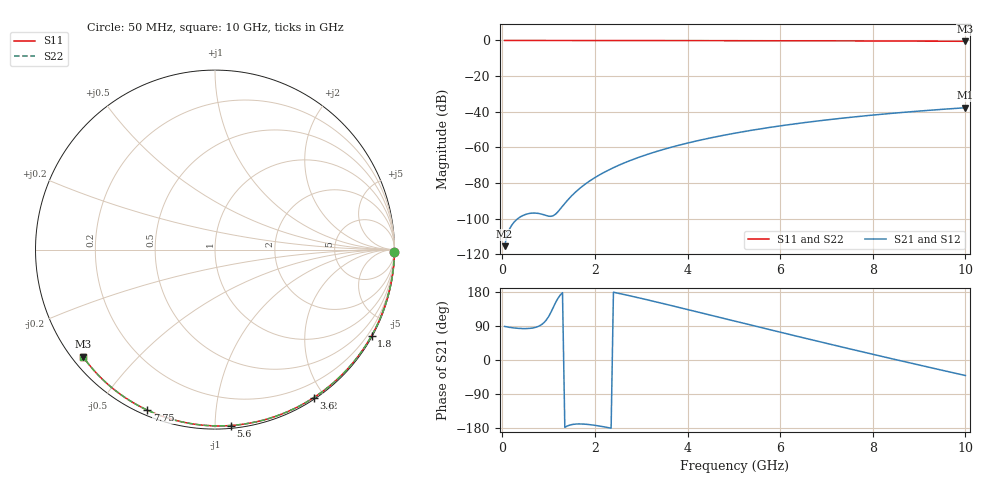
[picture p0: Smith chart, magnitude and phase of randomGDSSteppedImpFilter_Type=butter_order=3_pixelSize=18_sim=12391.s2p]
! freq	dB(S11)	phase(S11)	dB(S12)	phase(S12)
!  dB(S21)	phase(S21)	dB(S22)	phase(S22)
!S-par simulation data
#  GHz  S  DB  R 50
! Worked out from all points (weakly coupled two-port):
!   200 points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, 50 MHz to 10 GHz, reference 50 ohm
!   highest |S21| = -37.76 dB at 10 GHz (marker M1); lowest = -115.4 dB at 50 MHz (marker M2)
!   lowest |S11| = -0.5 dB at 10 GHz (marker M3), VSWR 36.77, Z = 1.53 - j17.7 ohm
!   |S11| at or under -10 dB: nowhere
!   |S22| runs from -0.5 to 0.0 dB; largest |S21 - S12| = 0
!   S11 on the Smith chart (normalised r, x): 50 MHz: open; 1.8 GHz: 0.03, -3.88; 3.6 GHz: 0.02, -1.87; 5.6 GHz: 0.02, -1.10; 7.75 GHz: 0.02, -0.66; 10 GHz: 0.03, -0.35
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0.05  -0.00 -0.8  -115.44 88.6  -115.44 88.6  -0.00 -0.8
0.45  -0.01 -7.3  -98.18 82.9  -98.18 82.9  -0.01 -7.3
0.9  -0.02 -14.6  -97.87 98.6  -97.87 98.6  -0.02 -14.6
1.75  -0.04 -28.1  -81.41 -169.1  -81.41 -169.1  -0.04 -28.1
1.8  -0.04 -28.9  -80.43 -169.5  -80.43 -169.5  -0.04 -28.9
1.85  -0.04 -29.7  -79.51 -170.0  -79.51 -170.0  -0.04 -29.7
2.05  -0.04 -32.8  -76.18 -173.3  -76.18 -173.3  -0.04 -32.8
2.2  -0.04 -35.1  -74.00 -176.4  -74.00 -176.4  -0.04 -35.1
2.55  -0.05 -40.5  -69.64 175.0  -69.64 175.0  -0.05 -40.5
2.95  -0.06 -46.6  -65.56 164.0  -65.56 164.0  -0.06 -46.6
3.4  -0.07 -53.4  -61.76 151.0  -61.76 151.0  -0.07 -53.4
3.6  -0.08 -56.4  -60.27 145.1  -60.27 145.1  -0.08 -56.4
4.3  -0.09 -66.6  -55.78 124.3  -55.78 124.3  -0.09 -66.6
5.05  -0.12 -77.2  -51.90 101.8  -51.90 101.8  -0.12 -77.2
5.6  -0.14 -84.8  -49.50 85.3  -49.50 85.3  -0.14 -84.8
6.15  -0.16 -92.2  -47.39 68.9  -47.39 68.9  -0.16 -92.2
6.7  -0.19 -99.4  -45.53 52.7  -45.53 52.7  -0.19 -99.4
7.2  -0.22 -105.9  -44.01 38.1  -44.01 38.1  -0.22 -105.9
7.75  -0.26 -112.9  -42.51 22.2  -42.51 22.2  -0.26 -112.9
8.35  -0.31 -120.5  -41.04 5.1  -41.04 5.1  -0.31 -120.5
9.2  -0.39 -131.1  -39.22 -18.8  -39.22 -18.8  -0.39 -131.1
10  -0.47 -141.0  -37.76 -40.9  -37.76 -40.9  -0.47 -141.0
